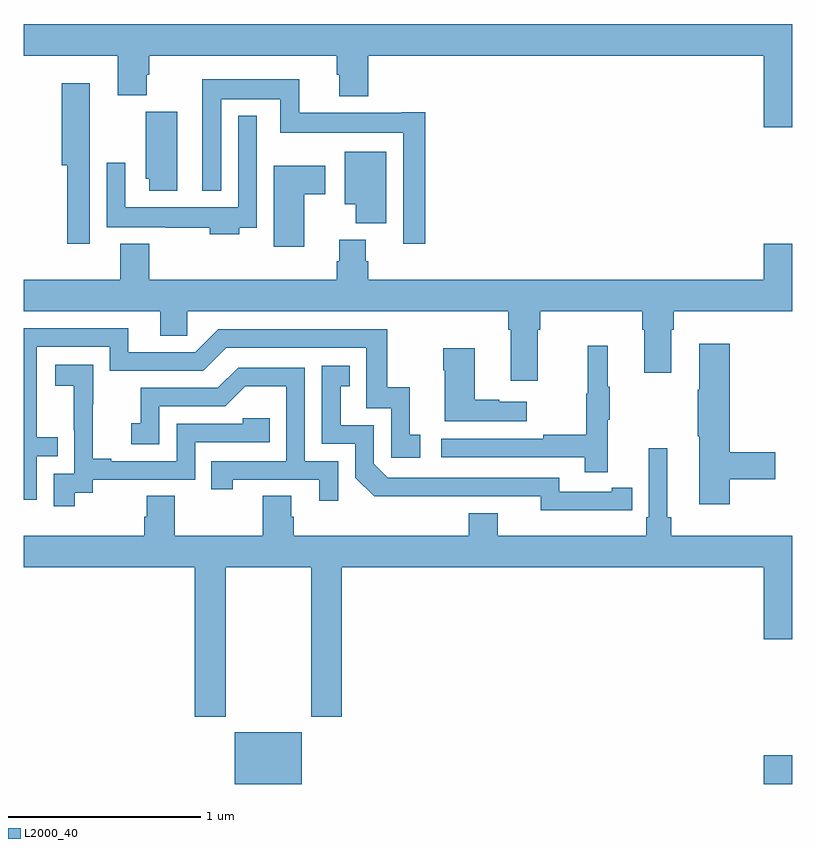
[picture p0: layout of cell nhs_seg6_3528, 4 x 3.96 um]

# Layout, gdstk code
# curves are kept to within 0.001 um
import gdstk
lib = gdstk.Library(unit=1e-6, precision=1e-09)
def R(c, l, rs):  # rectangles x0, y0, x1, y1
    for r in rs: c.add(gdstk.rectangle(r[:2], r[2:], *l))
def P(c, l, *ps):  # polygons
    for p in ps: c.add(gdstk.Polygon(p, *l))
L2000_40 = (2000, 40)

nhs_seg6_3528 = lib.new_cell('nhs_seg6_3528')
R(nhs_seg6_3528, L2000_40, [(318.098,987.5,318.448,987.769), (320.852,987.5,321,987.649)])
P(nhs_seg6_3528, L2000_40, [(321,991.456),(317,991.456),(317,991.292),(317.489,991.292),(317.489,991.084),(317.641,991.084),(317.641,991.193),(317.654,991.193),(317.654,991.292),(318.629,991.292),(318.629,991.191),(318.641,991.191),(318.641,991.079),(318.794,991.079),(318.794,991.292),(320.852,991.292),(320.852,990.918),(321,990.918)],
  [(319.091,990.997),(318.968,990.997),(318.968,990.994),(318.434,990.994),(318.434,991.168),(317.93,991.168),(317.93,990.587),(318.027,990.587),(318.027,991.064),(318.336,991.064),(318.336,990.89),(318.975,990.89),(318.975,990.312),(319.091,990.312)],
  [(317.343,990.826),(317.344,990.826),(317.344,991.147),(317.198,991.147),(317.198,990.722),(317.227,990.722),(317.227,990.312),(317.343,990.312)],
  [(317.8,990.999),(317.636,990.999),(317.636,990.651),(317.654,990.651),(317.654,990.588),(317.8,990.588)],
  [(318.121,990.396),(318.213,990.396),(318.213,990.979),(318.117,990.979),(318.117,990.502),(317.529,990.502),(317.529,990.733),(317.433,990.733),(317.433,990.398),(317.737,990.398),(317.737,990.396),(317.969,990.396),(317.969,990.362),(318.121,990.362)],
  [(318.886,990.79),(318.671,990.79),(318.671,990.518),(318.728,990.518),(318.728,990.419),(318.886,990.419)],
  [(318.46,990.571),(318.568,990.571),(318.568,990.718),(318.302,990.718),(318.302,990.296),(318.46,990.296)],
  [(319.675,989.864),(319.688,989.864),(319.688,989.96),(320.219,989.96),(320.219,989.864),(320.231,989.864),(320.231,989.64),(320.371,989.64),(320.371,989.864),(320.384,989.864),(320.384,989.96),(321,989.96),(321,990.313),(320.852,990.313),(320.852,990.124),(318.794,990.124),(318.794,990.222),(318.781,990.222),(318.781,990.334),(318.641,990.334),(318.641,990.222),(318.629,990.222),(318.629,990.124),(317.654,990.124),(317.654,990.313),(317.501,990.313),(317.501,990.124),(317,990.124),(317,989.96),(317.711,989.96),(317.711,989.833),(317.85,989.833),(317.85,989.96),(319.523,989.96),(319.523,989.864),(319.535,989.864),(319.535,989.598),(319.675,989.598)],
  [(317.067,989.205),(317.177,989.205),(317.177,989.306),(317.067,989.306),(317.067,989.775),(317.448,989.775),(317.448,989.652),(317.934,989.652),(318.054,989.772),(318.783,989.772),(318.783,989.457),(318.912,989.457),(318.912,989.199),(319.063,989.199),(319.063,989.319),(319.01,989.319),(319.01,989.566),(318.892,989.566),(318.892,989.868),(318.012,989.868),(317.892,989.748),(317.545,989.748),(317.545,989.871),(317,989.871),(317,988.98),(317.067,988.98)],
  [(320.675,989.086),(320.911,989.086),(320.911,989.228),(320.675,989.228),(320.675,989.791),(320.516,989.791),(320.516,989.552),(320.509,989.552),(320.509,989.311),(320.516,989.311),(320.516,988.956),(320.675,988.956)],
  [(320.039,989.395),(320.05,989.395),(320.05,989.569),(320.039,989.569),(320.039,989.782),(319.936,989.782),(319.936,989.532),(319.929,989.532),(319.929,989.318),(319.705,989.318),(319.705,989.298),(319.173,989.298),(319.173,989.202),(319.921,989.202),(319.921,989.124),(320.039,989.124)],
  [(319.618,989.491),(319.475,989.491),(319.475,989.501),(319.348,989.501),(319.348,989.767),(319.183,989.767),(319.183,989.654),(319.19,989.654),(319.19,989.387),(319.618,989.387)],
  [(317.266,989.017),(317.358,989.017),(317.358,989.085),(317.892,989.085),(317.892,989.28),(318.281,989.28),(318.281,989.403),(318.141,989.403),(318.141,989.376),(317.796,989.376),(317.796,989.181),(317.455,989.181),(317.455,989.194),(317.36,989.194),(317.36,989.477),(317.361,989.477),(317.361,989.683),(317.163,989.683),(317.163,989.573),(317.261,989.573),(317.261,989.345),(317.262,989.345),(317.262,989.115),(317.157,989.115),(317.157,988.947),(317.266,988.947)],
  [(320.06,988.926),(320.168,988.926),(320.168,989.042),(320.06,989.042),(320.06,989.022),(319.788,989.022),(319.788,989.094),(318.894,989.094),(318.822,989.166),(318.822,989.367),(318.649,989.367),(318.649,989.571),(318.698,989.571),(318.698,989.677),(318.552,989.677),(318.552,989.271),(318.726,989.271),(318.726,989.094),(318.824,988.997),(319.692,988.998),(319.692,988.925)],
  [(318.636,989.181),(318.462,989.181),(318.462,989.667),(318.116,989.667),(318.011,989.562),(317.608,989.562),(317.608,989.377),(317.559,989.377),(317.559,989.268),(317.706,989.268),(317.706,989.466),(318.048,989.466),(318.152,989.57),(318.366,989.57),(318.366,989.181),(317.977,989.181),(317.977,989.034),(318.088,989.034),(318.088,989.085),(318.539,989.085),(318.539,988.974),(318.636,988.974)],
  [(317.891,987.849),(318.051,987.849),(318.051,988.628),(318.496,988.628),(318.496,987.849),(318.656,987.849),(318.656,988.628),(320.852,988.628),(320.852,988.254),(321,988.254),(321,988.792),(320.369,988.792),(320.369,988.888),(320.35,988.888),(320.35,989.248),(320.253,989.248),(320.253,988.888),(320.24,988.888),(320.24,988.792),(319.468,988.792),(319.468,988.909),(319.316,988.909),(319.316,988.792),(318.404,988.792),(318.404,988.89),(318.391,988.89),(318.391,989),(318.244,989),(318.244,988.792),(317.787,988.792),(317.787,989),(317.639,989),(317.639,988.89),(317.627,988.89),(317.627,988.792),(317,988.792),(317,988.628),(317.891,988.628)])

lib.write_gds('nhs_seg6_3528.gds')
